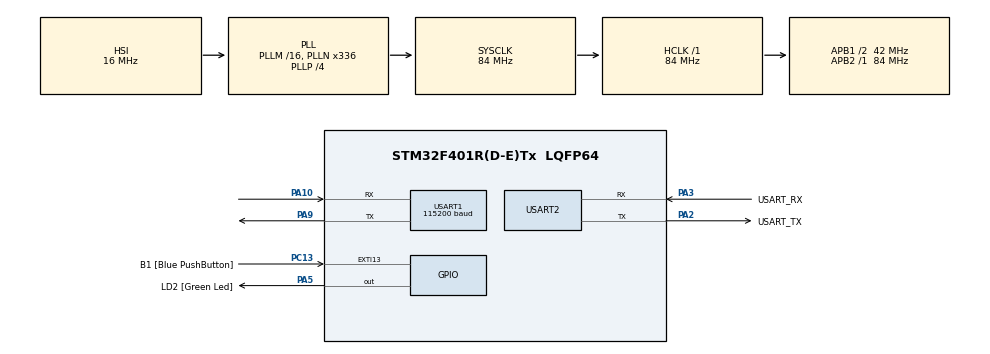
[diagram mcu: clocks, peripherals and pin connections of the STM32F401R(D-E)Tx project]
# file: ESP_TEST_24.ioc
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Mcu.Family=STM32F4
Mcu.Name=STM32F401R(D-E)Tx
Mcu.Package=LQFP64
NVIC.PriorityGroup=NVIC_PRIORITYGROUP_4
NVIC.USART1_IRQn=true\:0\:0\:false\:false\:true\:true\:true\:true
PA10.Mode=Asynchronous
PA10.Signal=USART1_RX
PA13.GPIO_Label=TMS
PA13.Mode=Trace_Asynchronous_SW
PA13.Signal=SYS_JTMS-SWDIO
PA14.GPIO_Label=TCK
PA14.Mode=Trace_Asynchronous_SW
PA14.Signal=SYS_JTCK-SWCLK
PA2.GPIO_Label=USART_TX
PA2.GPIO_Mode=GPIO_MODE_AF_PP
PA2.GPIO_PuPd=GPIO_NOPULL
PA2.GPIO_Speed=GPIO_SPEED_FREQ_LOW
PA2.Mode=Asynchronous
PA2.Signal=USART2_TX
PA3.GPIO_Label=USART_RX
PA3.GPIO_Mode=GPIO_MODE_AF_PP
PA3.GPIO_PuPd=GPIO_NOPULL
PA3.GPIO_Speed=GPIO_SPEED_FREQ_LOW
PA3.Mode=Asynchronous
PA3.Signal=USART2_RX
PA5.GPIO_Label=LD2 [Green Led]
PA5.GPIO_Mode=GPIO_MODE_OUTPUT_PP
PA5.GPIO_PuPd=GPIO_NOPULL
PA5.GPIO_Speed=GPIO_SPEED_FREQ_LOW
PA5.Signal=GPIO_Output
PA9.Mode=Asynchronous
PA9.Signal=USART1_TX
PB3.GPIO_Label=SWO
PB3.Mode=Trace_Asynchronous_SW
PB3.Signal=SYS_JTDO-SWO
PC13-ANTI_TAMP.GPIO_Label=B1 [Blue PushButton]
PC13-ANTI_TAMP.GPIO_ModeDefaultEXTI=GPIO_MODE_IT_FALLING
PC13-ANTI_TAMP.GPIO_PuPd=GPIO_NOPULL
PC13-ANTI_TAMP.Signal=GPXTI13
PC14-OSC32_IN.Mode=LSE-External-Oscillator
PC14-OSC32_IN.Signal=RCC_OSC32_IN
PC15-OSC32_OUT.Mode=LSE-External-Oscillator
PC15-OSC32_OUT.Signal=RCC_OSC32_OUT
PH0\ -\ OSC_IN.Mode=HSE-External-Clock-Source
PH0\ -\ OSC_IN.Signal=RCC_OSC_IN
PH1\ -\ OSC_OUT.Mode=HSE-External-Clock-Source
PH1\ -\ OSC_OUT.Signal=RCC_OSC_OUT
ProjectManager.HeapSize=0x200
ProjectManager.StackSize=0x400
ProjectManager.TargetToolchain=STM32CubeIDE
RCC.48MHZClocksFreq_Value=48000000
RCC.AHBFreq_Value=84000000
RCC.APB1CLKDivider=RCC_HCLK_DIV2
RCC.APB1Freq_Value=42000000
RCC.APB1TimFreq_Value=84000000
RCC.APB2Freq_Value=84000000
RCC.APB2TimFreq_Value=84000000
RCC.CortexFreq_Value=84000000
RCC.HCLKFreq_Value=84000000
RCC.HSE_VALUE=8000000
RCC.HSI_VALUE=16000000
RCC.PLLN=336
RCC.PLLP=RCC_PLLP_DIV4
RCC.PLLQ=7
RCC.SYSCLKFreq_VALUE=84000000
RCC.SYSCLKSource=RCC_SYSCLKSOURCE_PLLCLK
RCC.VCOOutputFreq_Value=336000000
USART1.BaudRate=115200
USART1.VirtualMode=VM_ASYNC
USART2.VirtualMode=VM_ASYNC
board=NUCLEO-F401RE

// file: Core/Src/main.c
/* USER CODE BEGIN Header */
/**
  ******************************************************************************
  * @file           : main.c
  * @brief          : Main program body
  ******************************************************************************
  * @attention
  *
  * Copyright (c) 2025 STMicroelectronics.
  * All rights reserved.
  *
  * This software is licensed under terms that can be found in the LICENSE file
  * in the root directory of this software component.
  * If no LICENSE file comes with this software, it is provided AS-IS.
  *
  ******************************************************************************
  */
#include <string.h>
#include <stdbool.h>
#include <stdio.h>
#include "secrets.h"
/* USER CODE END Header */
#include "main.h"

UART_HandleTypeDef huart1;
UART_HandleTypeDef huart2;

void SystemClock_Config(void);
static void MX_GPIO_Init(void);
static void MX_USART1_UART_Init(void);
static void MX_USART2_UART_Init(void);

/* USER CODE BEGIN 0 */

uint8_t tx_buffer[] = "AT\r\n";
uint8_t rx_buffer[128];

void HAL_UART_RxCpltCallback(UART_HandleTypeDef *huart) {
    if (huart->Instance == USART1) {
        memset(rx_buffer, 0, sizeof(rx_buffer));
        HAL_UART_Receive_IT(&huart1, rx_buffer, sizeof(rx_buffer));
    }
}

bool wait_for_response(uint32_t timeout) {
	uint32_t start = HAL_GetTick();
	while((HAL_GetTick() - start) < timeout) {
		size_t length = strlen((char *)rx_buffer);
		char last = rx_buffer[length - 1];
		if(last == '\n') {
			HAL_UART_Transmit(&huart2, rx_buffer, strlen((char *)rx_buffer), HAL_MAX_DELAY);
			// memset(rx_buffer, 0, sizeof(rx_buffer));
			return true;
		}
	}
	HAL_UART_Transmit(&huart2, rx_buffer, strlen((char *)rx_buffer), HAL_MAX_DELAY);
	// memset(rx_buffer, 0, sizeof(rx_buffer));
	return false;
}

/* USER CODE END 0 */

int main(void)
{

  /* MCU Configuration--------------------------------------------------------*/

  /* Reset of all peripherals, Initializes the Flash interface and the Systick. */
  HAL_Init();

  /* Configure the system clock */
  SystemClock_Config();

  /* Initialize all configured peripherals */
  MX_GPIO_Init();
  MX_USART1_UART_Init();
  MX_USART2_UART_Init();
  /* USER CODE BEGIN 2 */

  memset(rx_buffer, 0, sizeof(rx_buffer));

  HAL_Delay(1000);

//  const uint8_t disable_echo[] = "ATE0\r\n";
//  HAL_UART_Transmit(&huart1, disable_echo, sizeof(disable_echo), HAL_MAX_DELAY);
//  HAL_Delay(500);

  HAL_UART_Receive_IT(&huart1, rx_buffer, sizeof(rx_buffer));

  const uint8_t wifi_mode_cmd[] = "AT+CWMODE=1\r\n";
  HAL_UART_Transmit(&huart1, wifi_mode_cmd, strlen((char *)wifi_mode_cmd), HAL_MAX_DELAY);
  HAL_Delay(1000);
  //  wait_for_response(HAL_MAX_DELAY);

  uint8_t wifi_conn_cmd[64];
  memset(wifi_conn_cmd, 0, sizeof(wifi_conn_cmd));
  const uint8_t cmd[] = "AT+CWJAP=\"%s\",\"%s\"\r\n";

  size_t size = sizeof(cmd) + sizeof(SSID) + sizeof(PASS);
  if(size < 64) {
	  snprintf(wifi_conn_cmd, sizeof(wifi_conn_cmd), cmd, SSID, PASS);
  }
  HAL_UART_Transmit(&huart1, wifi_conn_cmd, strlen((char *)wifi_conn_cmd), HAL_MAX_DELAY);
  HAL_Delay(10000);
  //  wait_for_response(HAL_MAX_DELAY);

  const uint8_t get_ip_cmd[] = "AT+CIFSR\r\n";
  HAL_UART_Transmit(&huart1, get_ip_cmd, strlen((char *)get_ip_cmd), HAL_MAX_DELAY);
  HAL_Delay(5000);
  //  wait_for_response(HAL_MAX_DELAY);

  /* USER CODE END 2 */

  /* Infinite loop */
  while (1)
  {

  }
}

void SystemClock_Config(void)
{
  RCC_OscInitTypeDef RCC_OscInitStruct = {0};
  RCC_ClkInitTypeDef RCC_ClkInitStruct = {0};

  /** Configure the main internal regulator output voltage
  */
  __HAL_RCC_PWR_CLK_ENABLE();
  __HAL_PWR_VOLTAGESCALING_CONFIG(PWR_REGULATOR_VOLTAGE_SCALE2);

  /** Initializes the RCC Oscillators according to the specified parameters
  * in the RCC_OscInitTypeDef structure.
  */
  RCC_OscInitStruct.OscillatorType = RCC_OSCILLATORTYPE_HSI;
  RCC_OscInitStruct.HSIState = RCC_HSI_ON;
  RCC_OscInitStruct.HSICalibrationValue = RCC_HSICALIBRATION_DEFAULT;
  RCC_OscInitStruct.PLL.PLLState = RCC_PLL_ON;
  RCC_OscInitStruct.PLL.PLLSource = RCC_PLLSOURCE_HSI;
  RCC_OscInitStruct.PLL.PLLM = 16;
  RCC_OscInitStruct.PLL.PLLN = 336;
  RCC_OscInitStruct.PLL.PLLP = RCC_PLLP_DIV4;
  RCC_OscInitStruct.PLL.PLLQ = 7;
  if (HAL_RCC_OscConfig(&RCC_OscInitStruct) != HAL_OK)
  {
    Error_Handler();
  }

  /** Initializes the CPU, AHB and APB buses clocks
  */
  RCC_ClkInitStruct.ClockType = RCC_CLOCKTYPE_HCLK|RCC_CLOCKTYPE_SYSCLK
                              |RCC_CLOCKTYPE_PCLK1|RCC_CLOCKTYPE_PCLK2;
  RCC_ClkInitStruct.SYSCLKSource = RCC_SYSCLKSOURCE_PLLCLK;
  RCC_ClkInitStruct.AHBCLKDivider = RCC_SYSCLK_DIV1;
  RCC_ClkInitStruct.APB1CLKDivider = RCC_HCLK_DIV2;
  RCC_ClkInitStruct.APB2CLKDivider = RCC_HCLK_DIV1;

  if (HAL_RCC_ClockConfig(&RCC_ClkInitStruct, FLASH_LATENCY_2) != HAL_OK)
  {
    Error_Handler();
  }
}

static void MX_USART1_UART_Init(void)
{

  huart1.Instance = USART1;
  huart1.Init.BaudRate = 115200;
  huart1.Init.WordLength = UART_WORDLENGTH_8B;
  huart1.Init.StopBits = UART_STOPBITS_1;
  huart1.Init.Parity = UART_PARITY_NONE;
  huart1.Init.Mode = UART_MODE_TX_RX;
  huart1.Init.HwFlowCtl = UART_HWCONTROL_NONE;
  huart1.Init.OverSampling = UART_OVERSAMPLING_16;
  if (HAL_UART_Init(&huart1) != HAL_OK)
  {
    Error_Handler();
  }

}

static void MX_USART2_UART_Init(void)
{

  huart2.Instance = USART2;
  huart2.Init.BaudRate = 115200;
  huart2.Init.WordLength = UART_WORDLENGTH_8B;
  huart2.Init.StopBits = UART_STOPBITS_1;
  huart2.Init.Parity = UART_PARITY_NONE;
  huart2.Init.Mode = UART_MODE_TX_RX;
  huart2.Init.HwFlowCtl = UART_HWCONTROL_NONE;
  huart2.Init.OverSampling = UART_OVERSAMPLING_16;
  if (HAL_UART_Init(&huart2) != HAL_OK)
  {
    Error_Handler();
  }

}

static void MX_GPIO_Init(void)
{
  GPIO_InitTypeDef GPIO_InitStruct = {0};

  /* GPIO Ports Clock Enable */
  __HAL_RCC_GPIOC_CLK_ENABLE();
  __HAL_RCC_GPIOH_CLK_ENABLE();
  __HAL_RCC_GPIOA_CLK_ENABLE();
  __HAL_RCC_GPIOB_CLK_ENABLE();

  /*Configure GPIO pin Output Level */
  HAL_GPIO_WritePin(LD2_GPIO_Port, LD2_Pin, GPIO_PIN_RESET);

  /*Configure GPIO pin : B1_Pin */
  GPIO_InitStruct.Pin = B1_Pin;
  GPIO_InitStruct.Mode = GPIO_MODE_IT_FALLING;
  GPIO_InitStruct.Pull = GPIO_NOPULL;
  HAL_GPIO_Init(B1_GPIO_Port, &GPIO_InitStruct);

  /*Configure GPIO pin : LD2_Pin */
  GPIO_InitStruct.Pin = LD2_Pin;
  GPIO_InitStruct.Mode = GPIO_MODE_OUTPUT_PP;
  GPIO_InitStruct.Pull = GPIO_NOPULL;
  GPIO_InitStruct.Speed = GPIO_SPEED_FREQ_LOW;
  HAL_GPIO_Init(LD2_GPIO_Port, &GPIO_InitStruct);

}

void Error_Handler(void)
{
  __disable_irq();
  while (1)
  {
  }
}
